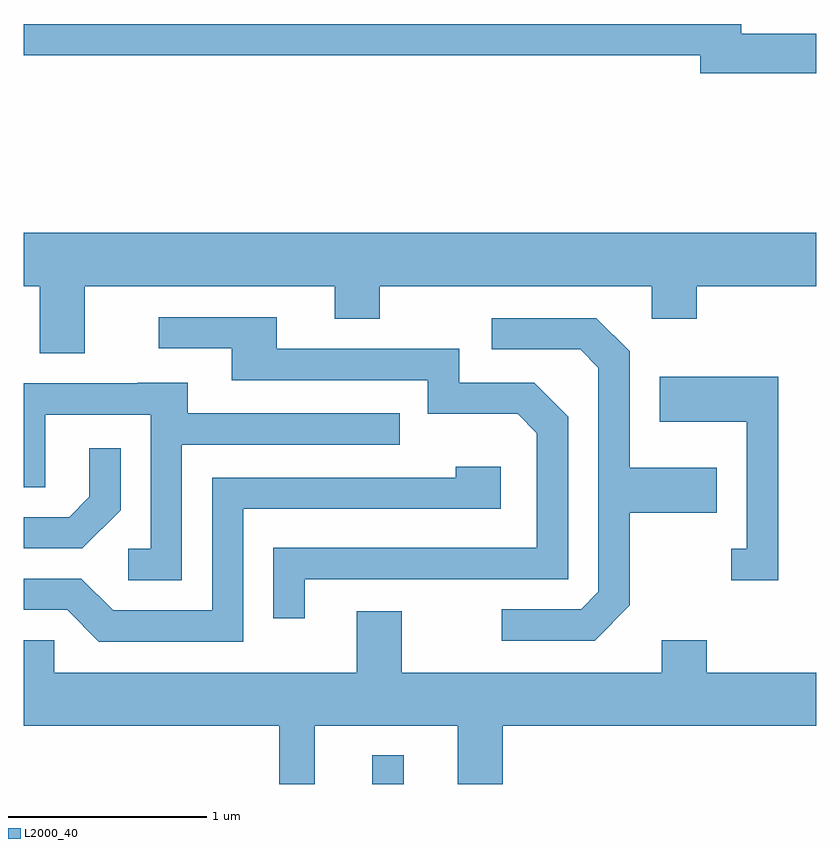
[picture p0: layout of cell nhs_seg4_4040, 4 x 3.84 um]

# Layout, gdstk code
import gdstk
lib = gdstk.Library(unit=1e-6, precision=1e-09)
def R(c, l, rs):  # rectangles x0, y0, x1, y1
    for r in rs: c.add(gdstk.rectangle(r[:2], r[2:], *l))
def P(c, l, *ps):  # polygons
    for p in ps: c.add(gdstk.Polygon(p, *l))
L2000_40 = (2000, 40)

nhs_seg4_4040 = lib.new_cell('nhs_seg4_4040')
R(nhs_seg4_4040, L2000_40, [(305.371,1309.982,305.529,1310.128)])
P(nhs_seg4_4040, L2000_40, [(307.611,1313.769),(307.234,1313.769),(307.234,1313.819),(303.611,1313.819),(303.611,1313.661),(307.026,1313.661),(307.026,1313.571),(307.611,1313.571)],
  [(303.919,1312.496),(305.181,1312.496),(305.181,1312.331),(305.409,1312.331),(305.409,1312.496),(306.781,1312.496),(306.781,1312.331),(307.009,1312.331),(307.009,1312.496),(307.611,1312.496),(307.611,1312.764),(303.611,1312.764),(303.611,1312.496),(303.691,1312.496),(303.691,1312.156),(303.919,1312.156)],
  [(305.029,1311.016),(306.359,1311.016),(306.359,1311.837),(306.187,1312.009),(305.809,1312.009),(305.809,1312.179),(304.889,1312.179),(304.889,1312.339),(304.293,1312.339),(304.293,1312.181),(304.661,1312.181),(304.661,1312.021),(305.651,1312.021),(305.651,1311.851),(306.104,1311.851),(306.201,1311.754),(306.201,1311.174),(304.871,1311.174),(304.871,1310.818),(305.029,1310.818)],
  [(306.669,1310.884),(306.669,1311.351),(307.109,1311.351),(307.109,1311.579),(306.669,1311.579),(306.669,1312.167),(306.502,1312.334),(305.973,1312.334),(305.973,1312.176),(306.419,1312.176),(306.511,1312.084),(306.511,1310.952),(306.424,1310.864),(306.023,1310.864),(306.023,1310.706),(306.492,1310.706)],
  [(307.419,1312.039),(306.821,1312.039),(306.821,1311.811),(307.261,1311.811),(307.261,1311.169),(307.183,1311.169),(307.183,1311.011),(307.419,1311.011)],
  [(304.409,1311.696),(305.508,1311.696),(305.508,1311.854),(304.439,1311.854),(304.439,1312.009),(304.185,1312.009),(304.185,1312.004),(303.611,1312.004),(303.611,1311.481),(303.719,1311.481),(303.719,1311.846),(304.251,1311.846),(304.251,1311.169),(304.138,1311.169),(304.138,1311.011),(304.409,1311.011)],
  [(304.099,1311.364),(304.099,1311.678),(303.941,1311.678),(303.941,1311.432),(303.839,1311.329),(303.611,1311.329),(303.611,1311.171),(303.907,1311.171)],
  [(304.719,1311.371),(306.019,1311.371),(306.019,1311.584),(305.791,1311.584),(305.791,1311.529),(304.561,1311.529),(304.561,1310.859),(304.062,1310.859),(303.902,1311.019),(303.611,1311.019),(303.611,1310.861),(303.829,1310.861),(303.989,1310.701),(304.719,1310.701)],
  [(305.079,1310.276),(305.801,1310.276),(305.801,1309.982),(306.029,1309.982),(306.029,1310.276),(307.611,1310.276),(307.611,1310.544),(307.059,1310.544),(307.059,1310.709),(306.831,1310.709),(306.831,1310.544),(305.519,1310.544),(305.519,1310.854),(305.291,1310.854),(305.291,1310.544),(303.764,1310.544),(303.764,1310.709),(303.611,1310.709),(303.611,1310.276),(304.901,1310.276),(304.901,1309.982),(305.079,1309.982)])

lib.write_gds('nhs_seg4_4040.gds')
